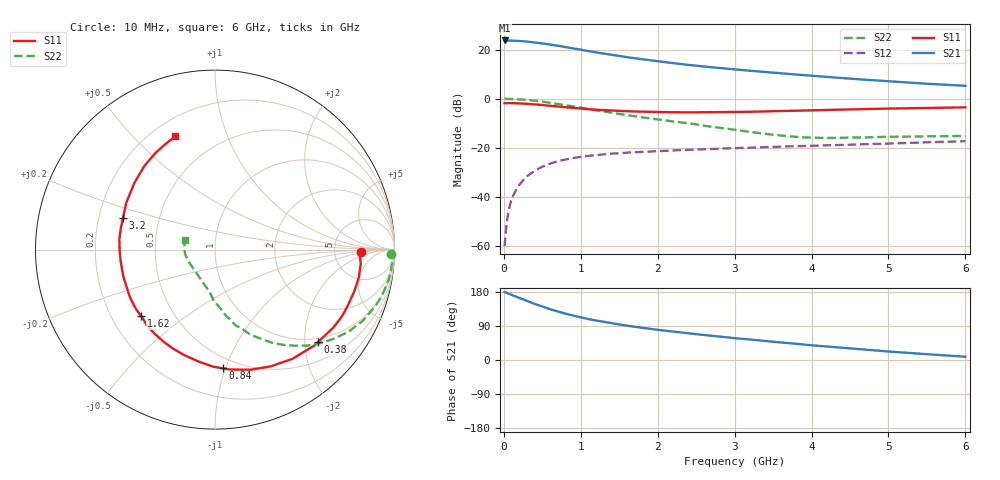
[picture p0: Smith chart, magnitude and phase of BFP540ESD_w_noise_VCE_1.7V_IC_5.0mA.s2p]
! Infineon Technologies  Discrete & RF Semiconductors
! BFP540ESD
! VCE =  1.7 V,  IC =  5.0 mA
! Common Emitter S-Parameters:  Nov 2015
# GHz  S  MA  R  50
!  f  S11  S21  S12  S22
! GHz  MAG  ANG  MAG  ANG  MAG  ANG  MAG  ANG
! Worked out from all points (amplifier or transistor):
!   210 points, 10 MHz to 6 GHz, reference 50 ohm
!   highest |S21| = 23.7 dB at 10 MHz (marker M1)
!   |S21| within 3 dB of that: start of sweep to 858 MHz
!   unconditionally stable (mu >= 1): 3.327 GHz to end of sweep
!   at 185 MHz: K = 0.04, MSG = 29.7 dB, |S12| = -35.8 dB
!   at 1.52 GHz: K = 0.50, MSG = 19.7 dB, |S12| = -22.1 dB
!   at 6 GHz: K = 1.23, MAG = 8.4 dB, |S12| = -17.3 dB
!   lowest NFmin = 0.69 dB at 900 MHz
!   S11 on the Smith chart (normalised r, x): 10 MHz: 9.61, -0.80; 380 MHz: 0.91, -2.31; 840 MHz: 0.41, -0.98; 1.62 GHz: 0.33, -0.35; 3.2 GHz: 0.30, +0.15; 6 GHz: 0.29, +0.67
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0.01  0.8127 -1.0  15.35 179.0  0.001 70.5  0.9809 -1.4
0.02  0.8085 -2.6  15.15 178.7  0.0015 93.8  1 -1.3
0.06  0.8153 -6.7  15.26 175.1  0.005 92.1  0.9901 -4.0
0.15  0.81 -16.8  15.17 167.9  0.013 83.2  0.9816 -9.9
0.26  0.7969 -29.0  14.75 158.9  0.0227 76.6  0.9586 -16.9
0.38  0.7713 -41.8  14.11 149.7  0.0324 70.9  0.9203 -24.3
0.5  0.7461 -54.6  13.44 140.8  0.0414 65.2  0.8738 -31.5
0.6  0.7206 -64.5  12.67 134.0  0.0477 60.6  0.8296 -36.7
0.7  0.6984 -73.3  12.01 128.2  0.0534 56.7  0.7854 -41.6
0.84  0.6633 -86.1  10.99 120.3  0.0596 51.9  0.7217 -47.9
1.02  0.6255 -100.0  9.81 111.6  0.0663 47.1  0.6465 -54.9
1.2  0.5989 -113.2  8.767 104.1  0.0715 42.3  0.5812 -60.8
1.4  0.5769 -125.5  7.833 97.1  0.0764 38.6  0.5175 -67.1
1.62  0.5536 -137.8  6.934 90.1  0.0805 35.6  0.459 -71.8
1.8  0.546 -147.4  6.334 84.9  0.0826 33.3  0.4197 -76.2
2.02  0.5347 -157.5  5.737 79.2  0.0861 31.2  0.3767 -80.3
2.56  0.5304 -178.5  4.591 66.9  0.093 27.3  0.2894 -90.4
3.1  0.5394 163.8  3.831 55.9  0.0999 24.8  0.2218 -101.2
3.2  0.5421 160.9  3.714 54.1  0.1012 24.2  0.2116 -104.0
4.1  0.5866 138.4  2.858 37.3  0.1112 19.6  0.1599 -140.6
5.1  0.6347 120.5  2.218 21.0  0.1237 15.1  0.1687 -174.2
6  0.6681 109.4  1.831 8.6  0.1366 11.9  0.1753 163.1
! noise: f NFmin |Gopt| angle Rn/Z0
0.9  0.69  0.1  42  0.12
1.8  0.92  0.1  123  0.11
2.4  0.94  0.12  135  0.1
3  1.1  0.2  165  0.09
4  1.26  0.29  -127  0.15
5  1.53  0.41  -101  0.32
6  1.74  0.53  -100  0.46
